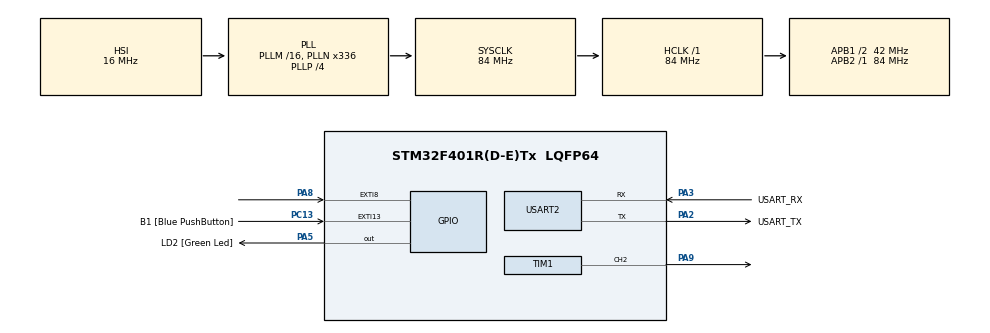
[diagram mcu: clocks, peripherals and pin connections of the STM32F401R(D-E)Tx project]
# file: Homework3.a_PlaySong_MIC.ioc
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Mcu.Family=STM32F4
Mcu.Name=STM32F401R(D-E)Tx
Mcu.Package=LQFP64
NVIC.EXTI9_5_IRQn=true\:1\:0\:true\:false\:true\:true\:true\:true
NVIC.PriorityGroup=NVIC_PRIORITYGROUP_1
PA13.GPIO_Label=TMS
PA13.Mode=Serial_Wire
PA13.Signal=SYS_JTMS-SWDIO
PA14.GPIO_Label=TCK
PA14.Mode=Serial_Wire
PA14.Signal=SYS_JTCK-SWCLK
PA2.GPIO_Label=USART_TX
PA2.GPIO_Mode=GPIO_MODE_AF_PP
PA2.GPIO_PuPd=GPIO_NOPULL
PA2.GPIO_Speed=GPIO_SPEED_FREQ_LOW
PA2.Mode=Asynchronous
PA2.Signal=USART2_TX
PA3.GPIO_Label=USART_RX
PA3.GPIO_Mode=GPIO_MODE_AF_PP
PA3.GPIO_PuPd=GPIO_NOPULL
PA3.GPIO_Speed=GPIO_SPEED_FREQ_LOW
PA3.Mode=Asynchronous
PA3.Signal=USART2_RX
PA5.GPIO_Label=LD2 [Green Led]
PA5.GPIO_Mode=GPIO_MODE_OUTPUT_PP
PA5.GPIO_PuPd=GPIO_NOPULL
PA5.GPIO_Speed=GPIO_SPEED_FREQ_LOW
PA5.Signal=GPIO_Output
PA8.Signal=GPXTI8
PA9.Signal=S_TIM1_CH2
PB3.GPIO_Label=SWO
PB3.Signal=SYS_JTDO-SWO
PC13-ANTI_TAMP.GPIO_Label=B1 [Blue PushButton]
PC13-ANTI_TAMP.GPIO_ModeDefaultEXTI=GPIO_MODE_IT_FALLING
PC13-ANTI_TAMP.GPIO_PuPd=GPIO_NOPULL
PC13-ANTI_TAMP.Signal=GPXTI13
PC14-OSC32_IN.Mode=LSE-External-Oscillator
PC14-OSC32_IN.Signal=RCC_OSC32_IN
PC15-OSC32_OUT.Mode=LSE-External-Oscillator
PC15-OSC32_OUT.Signal=RCC_OSC32_OUT
PH0\ -\ OSC_IN.Mode=HSE-External-Clock-Source
PH0\ -\ OSC_IN.Signal=RCC_OSC_IN
PH1\ -\ OSC_OUT.Mode=HSE-External-Clock-Source
PH1\ -\ OSC_OUT.Signal=RCC_OSC_OUT
ProjectManager.HeapSize=0x200
ProjectManager.StackSize=0x400
ProjectManager.TargetToolchain=STM32CubeIDE
RCC.48MHZClocksFreq_Value=48000000
RCC.AHBFreq_Value=84000000
RCC.APB1CLKDivider=RCC_HCLK_DIV2
RCC.APB1Freq_Value=42000000
RCC.APB1TimFreq_Value=84000000
RCC.APB2Freq_Value=84000000
RCC.APB2TimFreq_Value=84000000
RCC.CortexFreq_Value=84000000
RCC.HCLKFreq_Value=84000000
RCC.HSE_VALUE=8000000
RCC.HSI_VALUE=16000000
RCC.PLLN=336
RCC.PLLP=RCC_PLLP_DIV4
RCC.PLLQ=7
RCC.SYSCLKFreq_VALUE=84000000
RCC.SYSCLKSource=RCC_SYSCLKSOURCE_PLLCLK
RCC.VCOOutputFreq_Value=336000000
SH.S_TIM1_CH2.0=TIM1_CH2,PWM Generation2 CH2
TIM1.Channel-PWM\ Generation2\ CH2=TIM_CHANNEL_2
TIM1.Period=1908
TIM1.Prescaler=100-1
TIM1.Pulse-PWM\ Generation2\ CH2=954
USART2.VirtualMode=VM_ASYNC
VP_TIM1_VS_ClockSourceINT.Mode=Internal
board=NUCLEO-F401RE

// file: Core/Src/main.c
/* USER CODE BEGIN Header */
/**
  ******************************************************************************
  * @file           : main.c
  * @brief          : Main program body
  ******************************************************************************
  * @attention
  *
  * Copyright (c) 2024 STMicroelectronics.
  * All rights reserved.
  *
  * This software is licensed under terms that can be found in the LICENSE file
  * in the root directory of this software component.
  * If no LICENSE file comes with this software, it is provided AS-IS.
  *
  ******************************************************************************
  */

/* GOAL:
 * play a song using the speaker when the microphone detects a loud sound
 * Song: London Bridge Is Falling Down
 * */
/* USER CODE END Header */
#include "main.h"

/* USER CODE BEGIN PTD */
struct note{
	int tone;
	int duration;
};
/* USER CODE END PTD */

/* USER CODE BEGIN PD */
#define DO4  3205
#define DOD4 3031
#define RE4  2856
#define RED4 2700
#define MI4  2544
#define FA4  2406
#define FAD4 2269
#define SOL4 2142
#define SOLD4 2023
#define LA4  1908
#define LAD4 1802
#define SI4  1699

#define TEMPO  75
/* USER CODE END PD */

TIM_HandleTypeDef htim1;

UART_HandleTypeDef huart2;

/* USER CODE BEGIN PV */
// The song is written a sequence of notes
struct note score[]={
  {SOL4,6},
  {LA4,2},
  {SOL4,4},
  {FA4,4},
  {MI4,4},
  {FA4,4},
  {SOL4,8},
  {RE4,4},
  {MI4,4},
  {FA4,8},
  {MI4,4},
  {FA4,4},
  {SOL4,8},
  {SOL4,6},
  {LA4,2},
  {SOL4,4},
  {FA4,4},
  {MI4,4},
  {FA4,4},
  {SOL4,8},
  {RE4,8},
  {SOL4,8},
  {MI4,4},
  {DO4,12}
};
/* USER CODE END PV */

void SystemClock_Config(void);
static void MX_GPIO_Init(void);
static void MX_USART2_UART_Init(void);
static void MX_TIM1_Init(void);

/* USER CODE BEGIN 0 */
void playnote(struct note note_playing){

	// COPIED FROM MX_TIM1_Init

	TIM_ClockConfigTypeDef sClockSourceConfig = {0};
	TIM_MasterConfigTypeDef sMasterConfig = {0};
	TIM_OC_InitTypeDef sConfigOC = {0};
	TIM_BreakDeadTimeConfigTypeDef sBreakDeadTimeConfig = {0};

	htim1.Instance = TIM1;
	htim1.Init.Prescaler = 100-1;
	htim1.Init.CounterMode = TIM_COUNTERMODE_UP;
	htim1.Init.Period = note_playing.tone;
	htim1.Init.ClockDivision = TIM_CLOCKDIVISION_DIV1;
	htim1.Init.RepetitionCounter = 0;
	htim1.Init.AutoReloadPreload = TIM_AUTORELOAD_PRELOAD_DISABLE;
	if (HAL_TIM_Base_Init(&htim1) != HAL_OK)
	{
	Error_Handler();
	}
	if (HAL_TIM_PWM_Init(&htim1) != HAL_OK)
	{
	Error_Handler();
	}

	sConfigOC.OCMode = TIM_OCMODE_PWM1;
	sConfigOC.Pulse = note_playing.tone/2;
	sConfigOC.OCPolarity = TIM_OCPOLARITY_HIGH;
	sConfigOC.OCNPolarity = TIM_OCNPOLARITY_HIGH;
	sConfigOC.OCFastMode = TIM_OCFAST_DISABLE;
	sConfigOC.OCIdleState = TIM_OCIDLESTATE_RESET;
	sConfigOC.OCNIdleState = TIM_OCNIDLESTATE_RESET;
	if (HAL_TIMEx_ConfigBreakDeadTime(&htim1, &sBreakDeadTimeConfig) != HAL_OK)
	{
	  Error_Handler();
	}

	//here we start and stop the PWM generation for the note
	HAL_TIM_PWM_Start(&htim1,TIM_CHANNEL_2);
	HAL_Delay(note_playing.duration*TEMPO);
	HAL_TIM_PWM_Stop(&htim1,TIM_CHANNEL_2);
}

void playsong(){
	int length = sizeof (score)/sizeof (score[0]);
	// sizeof gives the occupation in Bytes of something:
	//in this case length represent the number of notes

	for (int i = 0; i < length; i++){
		playnote(score[i]);
	}
}

void HAL_GPIO_EXTI_Callback(uint16_t GPIO_Pin)
{
	switch (GPIO_Pin){
	case GPIO_PIN_8:
		playsong();
		HAL_Delay(10);
		__HAL_GPIO_EXTI_CLEAR_IT(GPIO_Pin);// cleared interrupt requests when the song finishes
	break;
		default:
	break;
	}
}
/* USER CODE END 0 */

int main(void)
{

  /* MCU Configuration--------------------------------------------------------*/

  /* Reset of all peripherals, Initializes the Flash interface and the Systick. */
  HAL_Init();

  /* Configure the system clock */
  SystemClock_Config();

  /* Initialize all configured peripherals */
  MX_GPIO_Init();
  MX_USART2_UART_Init();
  MX_TIM1_Init();

  /* Infinite loop */
  while (1)
  {

  }
}

void SystemClock_Config(void)
{
  RCC_OscInitTypeDef RCC_OscInitStruct = {0};
  RCC_ClkInitTypeDef RCC_ClkInitStruct = {0};

  /** Configure the main internal regulator output voltage
  */
  __HAL_RCC_PWR_CLK_ENABLE();
  __HAL_PWR_VOLTAGESCALING_CONFIG(PWR_REGULATOR_VOLTAGE_SCALE2);

  /** Initializes the RCC Oscillators according to the specified parameters
  * in the RCC_OscInitTypeDef structure.
  */
  RCC_OscInitStruct.OscillatorType = RCC_OSCILLATORTYPE_HSI;
  RCC_OscInitStruct.HSIState = RCC_HSI_ON;
  RCC_OscInitStruct.HSICalibrationValue = RCC_HSICALIBRATION_DEFAULT;
  RCC_OscInitStruct.PLL.PLLState = RCC_PLL_ON;
  RCC_OscInitStruct.PLL.PLLSource = RCC_PLLSOURCE_HSI;
  RCC_OscInitStruct.PLL.PLLM = 16;
  RCC_OscInitStruct.PLL.PLLN = 336;
  RCC_OscInitStruct.PLL.PLLP = RCC_PLLP_DIV4;
  RCC_OscInitStruct.PLL.PLLQ = 7;
  if (HAL_RCC_OscConfig(&RCC_OscInitStruct) != HAL_OK)
  {
    Error_Handler();
  }

  /** Initializes the CPU, AHB and APB buses clocks
  */
  RCC_ClkInitStruct.ClockType = RCC_CLOCKTYPE_HCLK|RCC_CLOCKTYPE_SYSCLK
                              |RCC_CLOCKTYPE_PCLK1|RCC_CLOCKTYPE_PCLK2;
  RCC_ClkInitStruct.SYSCLKSource = RCC_SYSCLKSOURCE_PLLCLK;
  RCC_ClkInitStruct.AHBCLKDivider = RCC_SYSCLK_DIV1;
  RCC_ClkInitStruct.APB1CLKDivider = RCC_HCLK_DIV2;
  RCC_ClkInitStruct.APB2CLKDivider = RCC_HCLK_DIV1;

  if (HAL_RCC_ClockConfig(&RCC_ClkInitStruct, FLASH_LATENCY_2) != HAL_OK)
  {
    Error_Handler();
  }
}

static void MX_TIM1_Init(void)
{

  TIM_ClockConfigTypeDef sClockSourceConfig = {0};
  TIM_MasterConfigTypeDef sMasterConfig = {0};
  TIM_OC_InitTypeDef sConfigOC = {0};
  TIM_BreakDeadTimeConfigTypeDef sBreakDeadTimeConfig = {0};

  htim1.Instance = TIM1;
  htim1.Init.Prescaler = 100-1;
  htim1.Init.CounterMode = TIM_COUNTERMODE_UP;
  htim1.Init.Period = 1908;
  htim1.Init.ClockDivision = TIM_CLOCKDIVISION_DIV1;
  htim1.Init.RepetitionCounter = 0;
  htim1.Init.AutoReloadPreload = TIM_AUTORELOAD_PRELOAD_DISABLE;
  if (HAL_TIM_Base_Init(&htim1) != HAL_OK)
  {
    Error_Handler();
  }
  sClockSourceConfig.ClockSource = TIM_CLOCKSOURCE_INTERNAL;
  if (HAL_TIM_ConfigClockSource(&htim1, &sClockSourceConfig) != HAL_OK)
  {
    Error_Handler();
  }
  if (HAL_TIM_PWM_Init(&htim1) != HAL_OK)
  {
    Error_Handler();
  }
  sMasterConfig.MasterOutputTrigger = TIM_TRGO_RESET;
  sMasterConfig.MasterSlaveMode = TIM_MASTERSLAVEMODE_DISABLE;
  if (HAL_TIMEx_MasterConfigSynchronization(&htim1, &sMasterConfig) != HAL_OK)
  {
    Error_Handler();
  }
  sConfigOC.OCMode = TIM_OCMODE_PWM1;
  sConfigOC.Pulse = 954;
  sConfigOC.OCPolarity = TIM_OCPOLARITY_HIGH;
  sConfigOC.OCNPolarity = TIM_OCNPOLARITY_HIGH;
  sConfigOC.OCFastMode = TIM_OCFAST_DISABLE;
  sConfigOC.OCIdleState = TIM_OCIDLESTATE_RESET;
  sConfigOC.OCNIdleState = TIM_OCNIDLESTATE_RESET;
  if (HAL_TIM_PWM_ConfigChannel(&htim1, &sConfigOC, TIM_CHANNEL_2) != HAL_OK)
  {
    Error_Handler();
  }
  sBreakDeadTimeConfig.OffStateRunMode = TIM_OSSR_DISABLE;
  sBreakDeadTimeConfig.OffStateIDLEMode = TIM_OSSI_DISABLE;
  sBreakDeadTimeConfig.LockLevel = TIM_LOCKLEVEL_OFF;
  sBreakDeadTimeConfig.DeadTime = 0;
  sBreakDeadTimeConfig.BreakState = TIM_BREAK_DISABLE;
  sBreakDeadTimeConfig.BreakPolarity = TIM_BREAKPOLARITY_HIGH;
  sBreakDeadTimeConfig.AutomaticOutput = TIM_AUTOMATICOUTPUT_DISABLE;
  if (HAL_TIMEx_ConfigBreakDeadTime(&htim1, &sBreakDeadTimeConfig) != HAL_OK)
  {
    Error_Handler();
  }
  HAL_TIM_MspPostInit(&htim1);

}

static void MX_USART2_UART_Init(void)
{

  huart2.Instance = USART2;
  huart2.Init.BaudRate = 115200;
  huart2.Init.WordLength = UART_WORDLENGTH_8B;
  huart2.Init.StopBits = UART_STOPBITS_1;
  huart2.Init.Parity = UART_PARITY_NONE;
  huart2.Init.Mode = UART_MODE_TX_RX;
  huart2.Init.HwFlowCtl = UART_HWCONTROL_NONE;
  huart2.Init.OverSampling = UART_OVERSAMPLING_16;
  if (HAL_UART_Init(&huart2) != HAL_OK)
  {
    Error_Handler();
  }

}

static void MX_GPIO_Init(void)
{
  GPIO_InitTypeDef GPIO_InitStruct = {0};

  /* GPIO Ports Clock Enable */
  __HAL_RCC_GPIOC_CLK_ENABLE();
  __HAL_RCC_GPIOH_CLK_ENABLE();
  __HAL_RCC_GPIOA_CLK_ENABLE();
  __HAL_RCC_GPIOB_CLK_ENABLE();

  /*Configure GPIO pin Output Level */
  HAL_GPIO_WritePin(LD2_GPIO_Port, LD2_Pin, GPIO_PIN_RESET);

  /*Configure GPIO pin : B1_Pin */
  GPIO_InitStruct.Pin = B1_Pin;
  GPIO_InitStruct.Mode = GPIO_MODE_IT_FALLING;
  GPIO_InitStruct.Pull = GPIO_NOPULL;
  HAL_GPIO_Init(B1_GPIO_Port, &GPIO_InitStruct);

  /*Configure GPIO pin : LD2_Pin */
  GPIO_InitStruct.Pin = LD2_Pin;
  GPIO_InitStruct.Mode = GPIO_MODE_OUTPUT_PP;
  GPIO_InitStruct.Pull = GPIO_NOPULL;
  GPIO_InitStruct.Speed = GPIO_SPEED_FREQ_LOW;
  HAL_GPIO_Init(LD2_GPIO_Port, &GPIO_InitStruct);

  /*Configure GPIO pin : PA8 */
  GPIO_InitStruct.Pin = GPIO_PIN_8;
  GPIO_InitStruct.Mode = GPIO_MODE_IT_RISING;
  GPIO_InitStruct.Pull = GPIO_NOPULL;
  HAL_GPIO_Init(GPIOA, &GPIO_InitStruct);

  /* EXTI interrupt init*/
  HAL_NVIC_SetPriority(EXTI9_5_IRQn, 1, 0);
  HAL_NVIC_EnableIRQ(EXTI9_5_IRQn);

}

void Error_Handler(void)
{
  __disable_irq();
  while (1)
  {
  }
}
